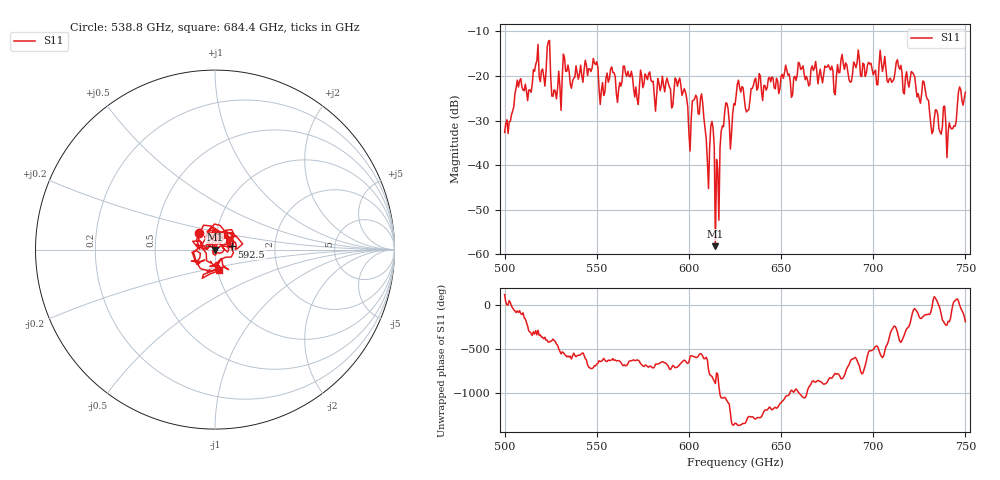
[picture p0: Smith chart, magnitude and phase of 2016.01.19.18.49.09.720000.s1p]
!Created with skrf (http://scikit-rf.org).
# GHz S RI R 50.0
!freq ReS11 ImS11
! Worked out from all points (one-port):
!   401 points, 500 GHz to 750 GHz, reference 50 ohm
!   lowest |S11| = -58.2 dB at 614.4 GHz (marker M1), VSWR 1.00, Z = 49.9 - j0.0246 ohm
!   |S11| at or under -10 dB: start of sweep to end of sweep
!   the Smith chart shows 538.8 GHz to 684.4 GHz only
!   S11 on the Smith chart (normalised r, x): 538.8 GHz: 0.82, +0.15; 592.5 GHz: 1.21, +0.04; 684.4 GHz: 1.02, -0.24
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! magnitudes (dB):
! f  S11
! 500 GHz  -32.7
! 516.9 GHz  -17.4
! 520.6 GHz  -18.4
! 523.8 GHz  -12.2
! 526.9 GHz  -23.1
! 531.2 GHz  -20.4
! 538.8 GHz  -17.7
! 549.4 GHz  -17.4
! 552.5 GHz  -23.2
! 562.5 GHz  -21.5
! 592.5 GHz  -20.4
! 593.8 GHz  -22.3
! 600 GHz  -32.8
! 606.9 GHz  -24.0
! 610 GHz  -39.0
! 612.5 GHz  -30.2
! 614.4 GHz  -58.2
! 615.6 GHz  -40.9
! 618.8 GHz  -31.4
! 623.1 GHz  -32.8
! 625 GHz  -26.5
! 656.2 GHz  -24.1
! 684.4 GHz  -18.5
! 687.5 GHz  -21.4
! 705 GHz  -19.0
! 718.8 GHz  -21.4
! 741.2 GHz  -30.5
! 750 GHz  -23.7
